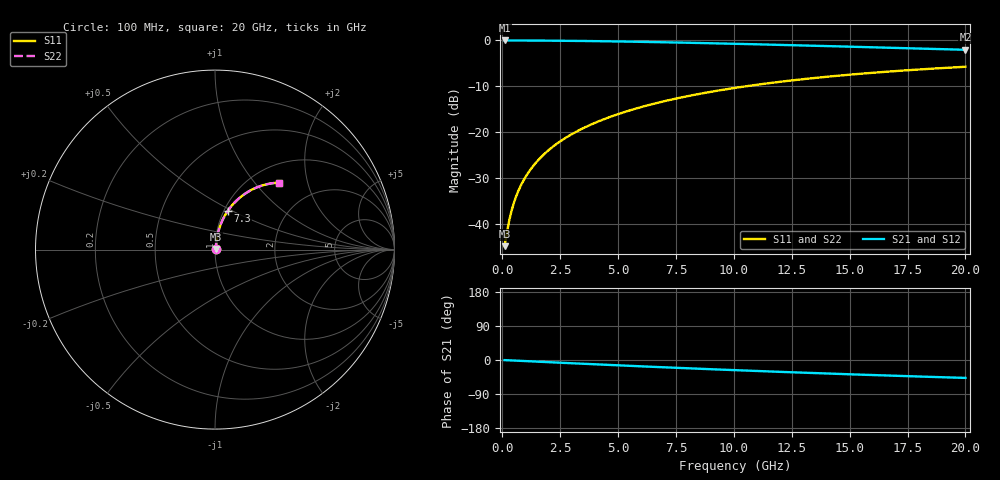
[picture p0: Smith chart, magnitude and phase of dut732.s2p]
! Touchstone file exported from HFSS 2024.1.0
!  File:  C:/UserFiles/LocalFiles/RDL_TSV_Batchsim/temp_RDL_bottom_732_1779858958.aedt
!  Generated:  01:18:42 PM May 27, 2026
!  Design:  RDL_bottom
!  Project:  temp_RDL_bottom_732_1779858958
!  Setup:  Setup1
!  Solution:  Sweep
! Variables:
!  dtsv = 10.80580581um
!  hbump = 3um
!  htsv = 53.31um
!  ldown = 614.92um
!  lrdl = 100um
!  p = 40
!  p1 = 53.52um
!  rhole = 1um
!  t = 450um
!  tdown = 3.51um
!  trdl = 3.915915916um
!  wdown = 13.31um
!  wrdl = 20um
# GHz S MA R 50.000000
! Terminal data exported
! Port[1] = RDL1_T1
! Port[2] = RDL1_T2
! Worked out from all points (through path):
!   200 points, 100 MHz to 20 GHz, reference 50 ohm
!   highest |S21| = -0.04 dB at 100 MHz (marker M1); lowest = -2.1 dB at 20 GHz (marker M2)
!   group delay of S21, straight-line fit = 6.56 ps
!   lowest |S11| = -44.8 dB at 100 MHz (marker M3), VSWR 1.01, Z = 50.5 + j0.333 ohm
!   |S11| at or under -10 dB: start of sweep to 10.53 GHz
!   |S22| runs from -44.8 to -5.8 dB; largest |S21 - S12| = 2.7e-15
!   S11 on the Smith chart (normalised r, x): 100 MHz: 1.01, +0.01; 7.3 GHz: 1.04, +0.47; 20 GHz: 1.32, +1.34
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0.1  0.00577 34.9  0.9953 -0.3  0.9953 -0.3  0.00577 34.9
! Gamma 0 0 0 0
! Port Impedance 50 0 50 0
0.2  0.008162 53.6  0.9952 -0.6  0.9952 -0.6  0.008162 53.6
0.3  0.01101 63.0  0.995 -0.9  0.995 -0.9  0.01101 63.0
0.4  0.01401 68.3  0.9949 -1.2  0.9949 -1.2  0.01401 68.3
0.5  0.01706 71.6  0.9947 -1.5  0.9947 -1.5  0.01706 71.6
0.6  0.02014 73.9  0.9945 -1.8  0.9945 -1.8  0.02013 73.8
0.8  0.02632 76.7  0.9941 -2.3  0.9941 -2.3  0.02632 76.7
1.1  0.03565 78.8  0.9934 -3.2  0.9934 -3.2  0.03565 78.8
1.5  0.04816 80.1  0.9922 -4.3  0.9922 -4.3  0.04816 80.1
1.8  0.05757 80.5  0.9912 -5.2  0.9912 -5.2  0.05757 80.5
2.1  0.06699 80.5  0.99 -6.0  0.99 -6.0  0.06699 80.5
2.7  0.08582 80.2  0.9871 -7.7  0.9871 -7.7  0.08582 80.2
3.5  0.1109 79.2  0.9824 -10.0  0.9824 -10.0  0.1109 79.2
4.2  0.1327 78.0  0.9774 -11.9  0.9774 -11.9  0.1327 78.0
5  0.1574 76.5  0.9708 -14.1  0.9708 -14.1  0.1573 76.5
6.8  0.2117 72.9  0.9534 -18.8  0.9534 -18.8  0.2117 72.8
7.3  0.2264 71.8  0.9481 -20.1  0.9481 -20.1  0.2264 71.8
8.6  0.2638 69.0  0.9333 -23.3  0.9333 -23.3  0.2637 69.0
10.1  0.3049 65.8  0.9151 -26.9  0.9151 -26.9  0.3048 65.7
13.4  0.3871 58.8  0.8728 -34.4  0.8728 -34.4  0.387 58.8
16.7  0.457 52.4  0.8296 -41.1  0.8296 -41.1  0.4569 52.3
20  0.5151 46.4  0.7879 -47.3  0.7879 -47.3  0.515 46.4
